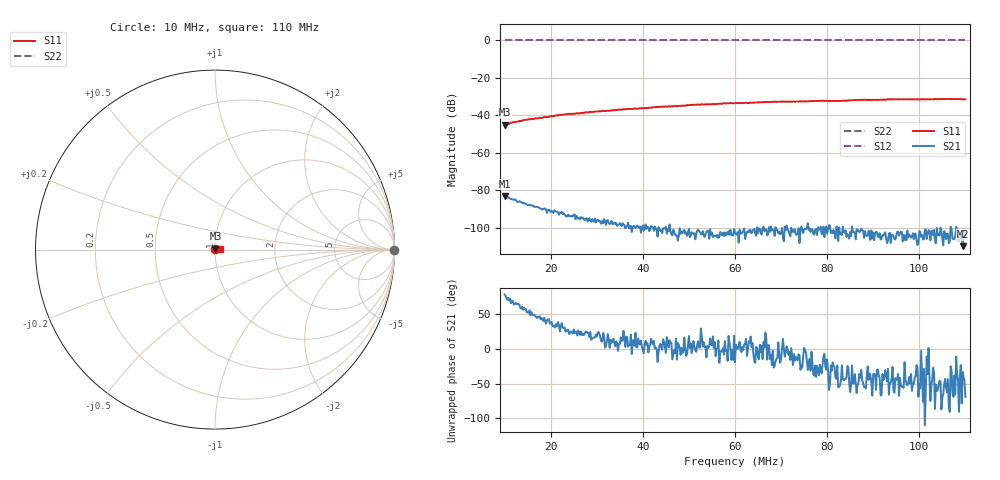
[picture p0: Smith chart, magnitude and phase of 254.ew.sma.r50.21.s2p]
! Anritsu VNA Master:  Model: MS2036C/10/77
! SN:  1601066
! /card0/usr/254.ew.sma.r50.21.s2p
! Existing Calibration Information:
! TYPE:  Current Settings,  Active Cal Settings
! TIME:  12/20/2017 01:02:43 PM,  12/20/2017 12:55:07 PM
! INTERNAL TEMP:  44.3 C,  44.3 C
! # POINTS:  501,  501
! START FREQ:  10.000 MHz,  10.000 MHz
! STOP FREQ:  110.000 MHz,  110.000 MHz
! SOURCE POWER:  High,  High
! IFBW:  100 Hz,  100 Hz
! AVG FACTOR:  1 ,  1
! REF PLANE 1:  0 mm,  0 mm
! REF PLANE 2:  0 mm,  0 mm
! CAL TYPE:  Full S11,  Full S11
! CAL METHOD:  SOLT,  SOLT
! CAL LINE TYPE:  Coax,  Coax
! DUT PORT 1:  N-Conn(F),  N-Conn(F)
! DUT PORT 2:  K-Conn(F),  K-Conn(F)
! CAL STATUS:  OK: Accuracy High,  --
# GHZ S DB R 50.0
! FREQ.GHZ  S11DB  S11A  S21DB  S21A  S12DB  S12A  S22DB  S22A
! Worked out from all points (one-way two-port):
!   501 points, 10 MHz to 110 MHz, reference 50 ohm
!   highest |S21| = -83.18 dB at 10 MHz (marker M1); lowest = -110.0 dB at 109.4 MHz (marker M2)
!   lowest |S11| = -45.1 dB at 10 MHz (marker M3), VSWR 1.01, Z = 50.3 + j0.498 ohm
!   |S11| at or under -10 dB: start of sweep to end of sweep
!   |S22| runs from 0.0 to 0.0 dB; largest |S21 - S12| = 1
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0.01  -45.05 62.4  -83.18 78.4  0.00 0.0  0.00 0.0
0.0108  -44.65 61.3  -83.85 73.7  0.00 0.0  0.00 0.0
0.0116  -43.95 61.5  -84.78 69.3  0.00 0.0  0.00 0.0
0.0144  -42.44 60.4  -87.26 57.1  0.00 0.0  0.00 0.0
0.0222  -39.74 56.2  -92.14 33.0  0.00 0.0  0.00 0.0
0.0268  -38.79 53.3  -94.99 20.0  0.00 0.0  0.00 0.0
0.0286  -38.22 52.5  -96.31 24.3  0.00 0.0  0.00 0.0
0.0362  -36.65 48.3  -100.50 2.9  0.00 0.0  0.00 0.0
0.0406  -36.14 45.5  -98.34 11.7  0.00 0.0  0.00 0.0
0.0434  -35.57 43.9  -99.87 -5.3  0.00 0.0  0.00 0.0
0.0478  -35.01 41.4  -104.67 6.3  0.00 0.0  0.00 0.0
0.0508  -34.45 39.8  -103.03 1.7  0.00 0.0  0.00 0.0
0.06  -33.57 36.3  -102.79 -19.5  0.00 0.0  0.00 0.0
0.0684  -32.81 31.1  -101.23 -26.9  0.00 0.0  0.00 0.0
0.0768  -32.46 26.0  -101.03 -19.0  0.00 0.0  0.00 0.0
0.0826  -32.29 21.6  -99.98 -54.6  0.00 0.0  0.00 0.0
0.0872  -31.74 18.2  -101.90 -41.8  0.00 0.0  0.00 0.0
0.091  -31.78 16.0  -104.85 -29.6  0.00 0.0  0.00 0.0
0.0934  -31.56 15.2  -103.31 -66.2  0.00 0.0  0.00 0.0
0.1064  -31.37 6.6  -108.30 -81.3  0.00 0.0  0.00 0.0
0.1094  -31.51 4.9  -109.98 -33.3  0.00 0.0  0.00 0.0
0.11  -31.45 3.9  -102.66 -69.2  0.00 0.0  0.00 0.0
